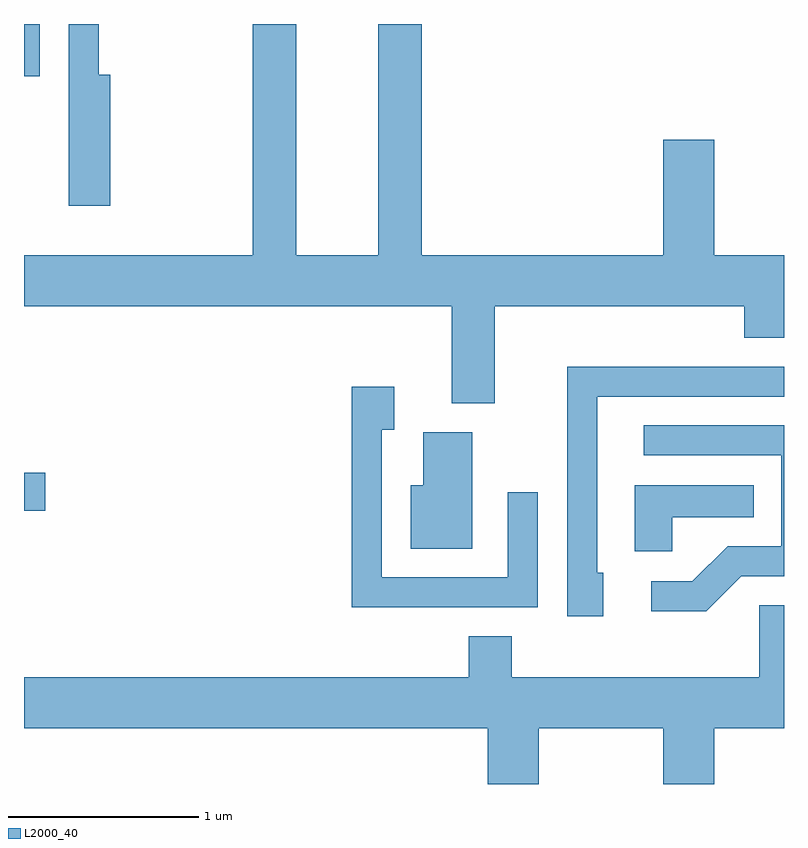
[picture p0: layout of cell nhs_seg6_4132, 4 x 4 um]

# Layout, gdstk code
import gdstk
lib = gdstk.Library(unit=1e-6, precision=1e-09)
def R(c, l, rs):  # rectangles x0, y0, x1, y1
    for r in rs: c.add(gdstk.rectangle(r[:2], r[2:], *l))
def P(c, l, *ps):  # polygons
    for p in ps: c.add(gdstk.Polygon(p, *l))
L2000_40 = (2000, 40)

nhs_seg6_4132 = lib.new_cell('nhs_seg6_4132')
R(nhs_seg6_4132, L2000_40, [(311.611,1575.601,311.724,1575.799), (311.611,1577.888,311.694,1578.162)])
P(nhs_seg6_4132, L2000_40, [(314.089,1576.676),(315.401,1576.676),(315.401,1576.511),(315.611,1576.511),(315.611,1576.944),(315.244,1576.944),(315.244,1577.554),(314.976,1577.554),(314.976,1576.944),(313.704,1576.944),(313.704,1578.162),(313.476,1578.162),(313.476,1576.944),(313.044,1576.944),(313.044,1578.162),(312.816,1578.162),(312.816,1576.944),(311.611,1576.944),(311.611,1576.676),(313.861,1576.676),(313.861,1576.166),(314.089,1576.166)],
  [(312.064,1577.894),(312.004,1577.894),(312.004,1578.162),(311.846,1578.162),(311.846,1577.206),(312.064,1577.206)],
  [(314.659,1575.274),(314.629,1575.274),(314.629,1576.201),(315.611,1576.201),(315.611,1576.359),(314.471,1576.359),(314.471,1575.046),(314.659,1575.046)],
  [(314.314,1575.698),(314.156,1575.698),(314.156,1575.249),(313.494,1575.249),(313.494,1576.026),(313.559,1576.026),(313.559,1576.254),(313.336,1576.254),(313.336,1575.091),(314.314,1575.091)],
  [(315.387,1575.256),(315.611,1575.256),(315.611,1576.049),(314.873,1576.049),(314.873,1575.891),(315.596,1575.891),(315.596,1575.414),(315.314,1575.414),(315.129,1575.229),(314.913,1575.229),(314.913,1575.071),(315.202,1575.071)],
  [(313.969,1576.014),(313.711,1576.014),(313.711,1575.734),(313.646,1575.734),(313.646,1575.401),(313.969,1575.401)],
  [(315.024,1575.566),(315.453,1575.566),(315.453,1575.734),(314.826,1575.734),(314.826,1575.386),(315.024,1575.386)],
  [(314.319,1574.456),(314.976,1574.456),(314.976,1574.162),(315.244,1574.162),(315.244,1574.456),(315.611,1574.456),(315.611,1575.104),(315.481,1575.104),(315.481,1574.724),(314.179,1574.724),(314.179,1574.939),(313.951,1574.939),(313.951,1574.724),(311.611,1574.724),(311.611,1574.456),(314.051,1574.456),(314.051,1574.162),(314.319,1574.162)])

lib.write_gds('nhs_seg6_4132.gds')
